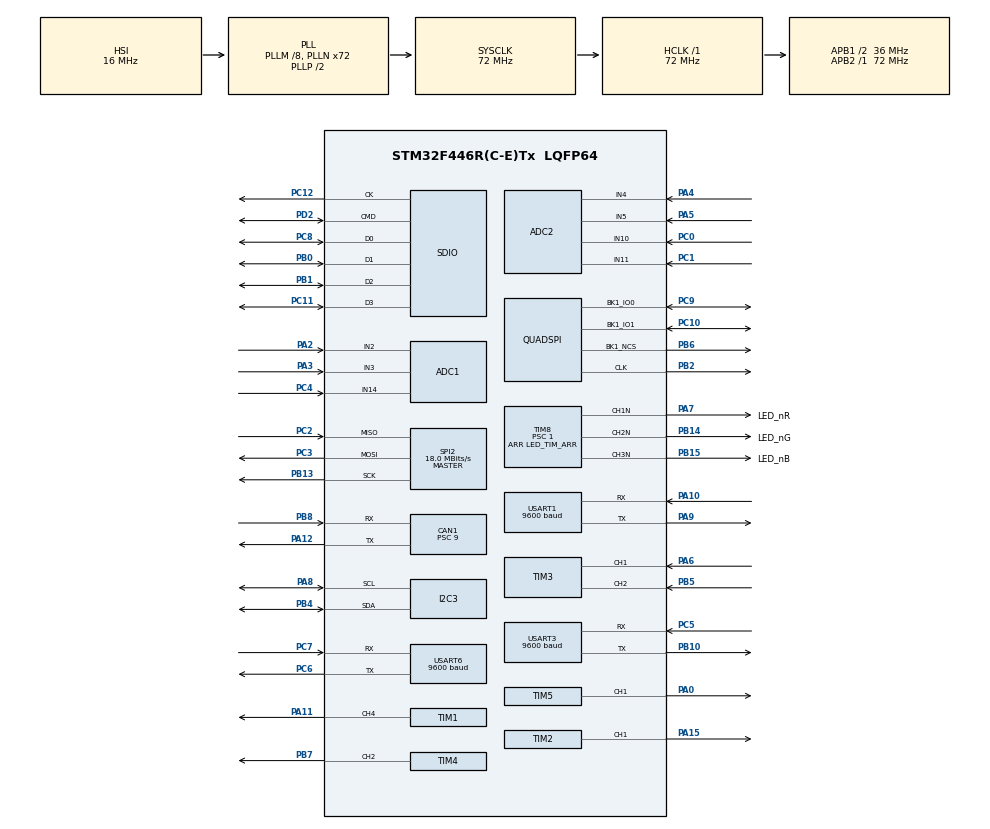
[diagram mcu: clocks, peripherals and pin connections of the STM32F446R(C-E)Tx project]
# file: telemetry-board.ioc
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ADC1.Channel-95\#ChannelRegularConversion=ADC_CHANNEL_2
ADC1.NbrOfConversionFlag=1
ADC1.Rank-95\#ChannelRegularConversion=1
ADC1.SamplingTime-95\#ChannelRegularConversion=ADC_SAMPLETIME_3CYCLES
ADC1.master=1
ADC2.Channel-88\#ChannelRegularConversion=ADC_CHANNEL_4
ADC2.NbrOfConversionFlag=1
ADC2.Rank-88\#ChannelRegularConversion=1
ADC2.SamplingTime-88\#ChannelRegularConversion=ADC_SAMPLETIME_3CYCLES
CAN1.BS1=CAN_BS1_13TQ
CAN1.BS2=CAN_BS2_2TQ
CAN1.CalculateTimeQuantum=250.0
CAN1.Prescaler=9
Dma.I2C3_RX.2.Direction=DMA_PERIPH_TO_MEMORY
Dma.I2C3_RX.2.FIFOMode=DMA_FIFOMODE_DISABLE
Dma.I2C3_RX.2.Instance=DMA1_Stream2
Dma.I2C3_RX.2.MemDataAlignment=DMA_MDATAALIGN_BYTE
Dma.I2C3_RX.2.MemInc=DMA_MINC_ENABLE
Dma.I2C3_RX.2.Mode=DMA_NORMAL
Dma.I2C3_RX.2.PeriphDataAlignment=DMA_PDATAALIGN_BYTE
Dma.I2C3_RX.2.PeriphInc=DMA_PINC_DISABLE
Dma.I2C3_RX.2.Priority=DMA_PRIORITY_LOW
Dma.Request0=SDIO_RX
Dma.Request1=SDIO_TX
Dma.Request2=I2C3_RX
Dma.Request3=USART3_RX
Dma.Request4=USART3_TX
Dma.Request5=USART1_TX
Dma.SDIO_RX.0.Direction=DMA_PERIPH_TO_MEMORY
Dma.SDIO_RX.0.FIFOMode=DMA_FIFOMODE_ENABLE
Dma.SDIO_RX.0.FIFOThreshold=DMA_FIFO_THRESHOLD_FULL
Dma.SDIO_RX.0.Instance=DMA2_Stream6
Dma.SDIO_RX.0.MemBurst=DMA_MBURST_INC4
Dma.SDIO_RX.0.MemDataAlignment=DMA_MDATAALIGN_WORD
Dma.SDIO_RX.0.MemInc=DMA_MINC_ENABLE
Dma.SDIO_RX.0.Mode=DMA_PFCTRL
Dma.SDIO_RX.0.PeriphBurst=DMA_PBURST_INC4
Dma.SDIO_RX.0.PeriphDataAlignment=DMA_PDATAALIGN_WORD
Dma.SDIO_RX.0.PeriphInc=DMA_PINC_DISABLE
Dma.SDIO_RX.0.Priority=DMA_PRIORITY_LOW
Dma.SDIO_TX.1.Direction=DMA_MEMORY_TO_PERIPH
Dma.SDIO_TX.1.FIFOMode=DMA_FIFOMODE_ENABLE
Dma.SDIO_TX.1.FIFOThreshold=DMA_FIFO_THRESHOLD_FULL
Dma.SDIO_TX.1.Instance=DMA2_Stream3
Dma.SDIO_TX.1.MemBurst=DMA_MBURST_INC4
Dma.SDIO_TX.1.MemDataAlignment=DMA_MDATAALIGN_WORD
Dma.SDIO_TX.1.MemInc=DMA_MINC_ENABLE
Dma.SDIO_TX.1.Mode=DMA_PFCTRL
Dma.SDIO_TX.1.PeriphBurst=DMA_PBURST_INC4
Dma.SDIO_TX.1.PeriphDataAlignment=DMA_PDATAALIGN_WORD
Dma.SDIO_TX.1.PeriphInc=DMA_PINC_DISABLE
Dma.SDIO_TX.1.Priority=DMA_PRIORITY_LOW
Dma.USART1_TX.5.Direction=DMA_MEMORY_TO_PERIPH
Dma.USART1_TX.5.FIFOMode=DMA_FIFOMODE_DISABLE
Dma.USART1_TX.5.Instance=DMA2_Stream7
Dma.USART1_TX.5.MemDataAlignment=DMA_MDATAALIGN_BYTE
Dma.USART1_TX.5.MemInc=DMA_MINC_ENABLE
Dma.USART1_TX.5.Mode=DMA_NORMAL
Dma.USART1_TX.5.PeriphDataAlignment=DMA_PDATAALIGN_BYTE
Dma.USART1_TX.5.PeriphInc=DMA_PINC_DISABLE
Dma.USART1_TX.5.Priority=DMA_PRIORITY_LOW
Dma.USART3_RX.3.Direction=DMA_PERIPH_TO_MEMORY
Dma.USART3_RX.3.FIFOMode=DMA_FIFOMODE_DISABLE
Dma.USART3_RX.3.Instance=DMA1_Stream1
Dma.USART3_RX.3.MemDataAlignment=DMA_MDATAALIGN_BYTE
Dma.USART3_RX.3.MemInc=DMA_MINC_ENABLE
Dma.USART3_RX.3.Mode=DMA_NORMAL
Dma.USART3_RX.3.PeriphDataAlignment=DMA_PDATAALIGN_BYTE
Dma.USART3_RX.3.PeriphInc=DMA_PINC_DISABLE
Dma.USART3_RX.3.Priority=DMA_PRIORITY_LOW
Dma.USART3_TX.4.Direction=DMA_MEMORY_TO_PERIPH
Dma.USART3_TX.4.FIFOMode=DMA_FIFOMODE_DISABLE
Dma.USART3_TX.4.Instance=DMA1_Stream4
Dma.USART3_TX.4.MemDataAlignment=DMA_MDATAALIGN_BYTE
Dma.USART3_TX.4.MemInc=DMA_MINC_ENABLE
Dma.USART3_TX.4.Mode=DMA_NORMAL
Dma.USART3_TX.4.PeriphDataAlignment=DMA_PDATAALIGN_BYTE
Dma.USART3_TX.4.PeriphInc=DMA_PINC_DISABLE
Dma.USART3_TX.4.Priority=DMA_PRIORITY_LOW
FATFS._FS_LOCK=2
FATFS._USE_STRFUNC=0
FREERTOS.Queues01=sdLoggingQueue,16,String_Message,0,Dynamic,NULL,NULL
FREERTOS.Tasks01=defaultTask,0,256,StartDefaultTask,Default,NULL,Dynamic,NULL,NULL;task_s1,0,256,TK_task_s1,Default,NULL,Dynamic,NULL,NULL;task_s2,0,256,TK_task_s2,Default,NULL,Dynamic,NULL,NULL;telemetry_mgmt,0,1024,TK_telemetry_data,As external,NULL,Dynamic,NULL,NULL;sdWrite,-1,1024,TK_sd_sync,As external,NULL,Dynamic,NULL,NULL;SD_data,-1,1024,TK_sd_data,As external,NULL,Dynamic,NULL,NULL
FREERTOS.configMINIMAL_STACK_SIZE=256
FREERTOS.configTOTAL_HEAP_SIZE=64400
Mcu.Family=STM32F4
Mcu.Name=STM32F446R(C-E)Tx
Mcu.Package=LQFP64
Mcu.UserConstants=LED_TIM_ARR,1000
NVIC.DMA1_Stream1_IRQn=true\:5\:0\:false\:false\:true\:true\:false
NVIC.DMA1_Stream2_IRQn=true\:5\:0\:false\:false\:true\:true\:false
NVIC.DMA1_Stream4_IRQn=true\:5\:0\:false\:false\:true\:true\:false
NVIC.DMA2_Stream3_IRQn=true\:5\:0\:false\:false\:true\:true\:false
NVIC.DMA2_Stream6_IRQn=true\:5\:0\:false\:false\:true\:true\:false
NVIC.DMA2_Stream7_IRQn=true\:5\:0\:false\:false\:true\:true\:false
NVIC.PriorityGroup=NVIC_PRIORITYGROUP_4
NVIC.SDIO_IRQn=true\:5\:0\:false\:false\:true\:true\:true
NVIC.TIM8_TRG_COM_TIM14_IRQn=true\:0\:0\:false\:false\:true\:false\:false
NVIC.TimeBase=TIM8_TRG_COM_TIM14_IRQn
NVIC.TimeBaseIP=TIM14
NVIC.USART1_IRQn=true\:5\:0\:false\:false\:true\:true\:true
PA0-WKUP.Signal=S_TIM5_CH1
PA10.Mode=Asynchronous
PA10.Signal=USART1_RX
PA11.Signal=S_TIM1_CH4
PA12.Mode=Master
PA12.Signal=CAN1_TX
PA13.Mode=Trace_Asynchronous_SW
PA13.Signal=SYS_JTMS-SWDIO
PA14.Mode=Trace_Asynchronous_SW
PA14.Signal=SYS_JTCK-SWCLK
PA15.Signal=S_TIM2_CH1_ETR
PA2.Signal=ADCx_IN2
PA3.Signal=ADCx_IN3
PA4.Signal=ADCx_IN4
PA5.Signal=ADCx_IN5
PA6.Signal=S_TIM3_CH1
PA7.GPIO_Label=LED_nR
PA7.Mode=PWM Generation1 CH1N
PA7.Signal=TIM8_CH1N
PA8.Mode=I2C
PA8.Signal=I2C3_SCL
PA9.Mode=Asynchronous
PA9.Signal=USART1_TX
PB0.Mode=SD_4_bits_Wide_bus
PB0.Signal=SDIO_D1
PB1.Mode=SD_4_bits_Wide_bus
PB1.Signal=SDIO_D2
PB10.Mode=Asynchronous
PB10.Signal=USART3_TX
PB13.Mode=Full_Duplex_Master
PB13.Signal=SPI2_SCK
PB14.GPIO_Label=LED_nG
PB14.Mode=PWM Generation2 CH2N
PB14.Signal=TIM8_CH2N
PB15.GPIO_Label=LED_nB
PB15.Mode=PWM Generation3 CH3N
PB15.Signal=TIM8_CH3N
PB2.Mode=Single Bank 1 2IOs
PB2.Signal=QUADSPI_CLK
PB3.Mode=Trace_Asynchronous_SW
PB3.Signal=SYS_JTDO-SWO
PB4.Mode=I2C
PB4.Signal=I2C3_SDA
PB5.Signal=S_TIM3_CH2
PB6.Mode=Single Bank 1 2IOs
PB6.Signal=QUADSPI_BK1_NCS
PB7.Signal=S_TIM4_CH2
PB8.Mode=Master
PB8.Signal=CAN1_RX
PC0.Signal=ADCx_IN10
PC1.Signal=ADCx_IN11
PC10.Mode=Single Bank 1 2IOs
PC10.Signal=QUADSPI_BK1_IO1
PC11.Mode=SD_4_bits_Wide_bus
PC11.Signal=SDIO_D3
PC12.Mode=SD_4_bits_Wide_bus
PC12.Signal=SDIO_CK
PC14-OSC32_IN.Mode=LSE-External-Oscillator
PC14-OSC32_IN.Signal=RCC_OSC32_IN
PC15-OSC32_OUT.Mode=LSE-External-Oscillator
PC15-OSC32_OUT.Signal=RCC_OSC32_OUT
PC2.Mode=Full_Duplex_Master
PC2.Signal=SPI2_MISO
PC3.Mode=Full_Duplex_Master
PC3.Signal=SPI2_MOSI
PC4.Signal=ADCx_IN14
PC5.Mode=Asynchronous
PC5.Signal=USART3_RX
PC6.Mode=Asynchronous
PC6.Signal=USART6_TX
PC7.Mode=Asynchronous
PC7.Signal=USART6_RX
PC8.Mode=SD_4_bits_Wide_bus
PC8.Signal=SDIO_D0
PC9.Mode=Single Bank 1 2IOs
PC9.Signal=QUADSPI_BK1_IO0
PD2.Mode=SD_4_bits_Wide_bus
PD2.Signal=SDIO_CMD
PH0-OSC_IN.Mode=HSE-External-Oscillator
PH0-OSC_IN.Signal=RCC_OSC_IN
PH1-OSC_OUT.Mode=HSE-External-Oscillator
PH1-OSC_OUT.Signal=RCC_OSC_OUT
ProjectManager.HeapSize=0x200
ProjectManager.StackSize=0x400
ProjectManager.TargetToolchain=TrueSTUDIO
RCC.AHBFreq_Value=72000000
RCC.APB1CLKDivider=RCC_HCLK_DIV2
RCC.APB1Freq_Value=36000000
RCC.APB1TimFreq_Value=72000000
RCC.APB2Freq_Value=72000000
RCC.APB2TimFreq_Value=72000000
RCC.CortexFreq_Value=72000000
RCC.HCLKFreq_Value=72000000
RCC.HSE_VALUE=8000000
RCC.PLLM=8
RCC.PLLN=72
RCC.PLLQ=3
RCC.SYSCLKFreq_VALUE=72000000
RCC.SYSCLKSource=RCC_SYSCLKSOURCE_PLLCLK
RCC.USBFreq_Value=48000000
RCC.VCOOutputFreq_Value=144000000
SH.ADCx_IN10.0=ADC2_IN10,IN10
SH.ADCx_IN11.0=ADC2_IN11,IN11
SH.ADCx_IN14.0=ADC1_IN14,IN14
SH.ADCx_IN2.0=ADC1_IN2,IN2
SH.ADCx_IN3.0=ADC1_IN3,IN3
SH.ADCx_IN4.0=ADC2_IN4,IN4
SH.ADCx_IN5.0=ADC2_IN5,IN5
SH.S_TIM1_CH4.0=TIM1_CH4,Output Compare4 CH4
SH.S_TIM2_CH1_ETR.0=TIM2_CH1,Output Compare1 CH1
SH.S_TIM3_CH1.0=TIM3_CH1,TriggerSource_TI1FP1
SH.S_TIM3_CH2.0=TIM3_CH2,Input_Capture2_from_TI2
SH.S_TIM4_CH2.0=TIM4_CH2,Output Compare2 CH2
SH.S_TIM5_CH1.0=TIM5_CH1,Output Compare1 CH1
SPI2.BaudRatePrescaler=SPI_BAUDRATEPRESCALER_2
SPI2.CalculateBaudRate=18.0 MBits/s
SPI2.Direction=SPI_DIRECTION_2LINES
SPI2.Mode=SPI_MODE_MASTER
SPI2.VirtualType=VM_MASTER
TIM1.Channel-Output\ Compare4\ CH4=TIM_CHANNEL_4
TIM2.Channel-Output\ Compare1\ CH1=TIM_CHANNEL_1
TIM3.Channel-Input_Capture2_from_TI2=TIM_CHANNEL_2
TIM4.Channel-Output\ Compare2\ CH2=TIM_CHANNEL_2
TIM5.Channel-Output\ Compare1\ CH1=TIM_CHANNEL_1
TIM8.Channel-PWM\ Generation1\ CH1N=TIM_CHANNEL_1
TIM8.Channel-PWM\ Generation2\ CH2N=TIM_CHANNEL_2
TIM8.Channel-PWM\ Generation3\ CH3N=TIM_CHANNEL_3
TIM8.OCMode_PWM-PWM\ Generation1\ CH1N=TIM_OCMODE_PWM2
TIM8.OCMode_PWM-PWM\ Generation2\ CH2N=TIM_OCMODE_PWM2
TIM8.OCMode_PWM-PWM\ Generation3\ CH3N=TIM_OCMODE_PWM2
TIM8.Period=LED_TIM_ARR
TIM8.Prescaler=1
USART1.BaudRate=9600
USART1.VirtualMode=VM_ASYNC
USART3.BaudRate=9600
USART3.VirtualMode=VM_ASYNC
USART6.BaudRate=9600
USART6.VirtualMode=VM_ASYNC
VP_FATFS_VS_SDIO.Mode=SDIO
VP_FREERTOS_VS_ENABLE.Mode=Enabled
VP_SYS_VS_tim14.Mode=TIM14
VP_TIM1_VS_ClockSourceINT.Mode=Internal
VP_TIM2_VS_ClockSourceINT.Mode=Internal
VP_TIM3_VS_ControllerModeClock.Mode=Clock Mode
VP_TIM4_VS_ClockSourceINT.Mode=Internal
VP_TIM5_VS_ClockSourceINT.Mode=Internal
VP_TIM8_VS_ClockSourceINT.Mode=Internal
board=custom

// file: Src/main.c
/* USER CODE BEGIN Header */
/**
  ******************************************************************************
  * @file           : main.c
  * @brief          : Main program body
  ******************************************************************************
  * This notice applies to any and all portions of this file
  * that are not between comment pairs USER CODE BEGIN and
  * USER CODE END. Other portions of this file, whether
  * inserted by the user or by software development tools
  * are owned by their respective copyright owners.
  *
  * Copyright (c) 2019 STMicroelectronics International N.V.
  * All rights reserved.
  *
  * Redistribution and use in source and binary forms, with or without
  * modification, are permitted, provided that the following conditions are met:
  *
  * 1. Redistribution of source code must retain the above copyright notice,
  *    this list of conditions and the following disclaimer.
  * 2. Redistributions in binary form must reproduce the above copyright notice,
  *    this list of conditions and the following disclaimer in the documentation
  *    and/or other materials provided with the distribution.
  * 3. Neither the name of STMicroelectronics nor the names of other
  *    contributors to this software may be used to endorse or promote products
  *    derived from this software without specific written permission.
  * 4. This software, including modifications and/or derivative works of this
  *    software, must execute solely and exclusively on microcontroller or
  *    microprocessor devices manufactured by or for STMicroelectronics.
  * 5. Redistribution and use of this software other than as permitted under
  *    this license is void and will automatically terminate your rights under
  *    this license.
  *
  * THIS SOFTWARE IS PROVIDED BY STMICROELECTRONICS AND CONTRIBUTORS "AS IS"
  * AND ANY EXPRESS, IMPLIED OR STATUTORY WARRANTIES, INCLUDING, BUT NOT
  * LIMITED TO, THE IMPLIED WARRANTIES OF MERCHANTABILITY, FITNESS FOR A
  * PARTICULAR PURPOSE AND NON-INFRINGEMENT OF THIRD PARTY INTELLECTUAL PROPERTY
  * RIGHTS ARE DISCLAIMED TO THE FULLEST EXTENT PERMITTED BY LAW. IN NO EVENT
  * SHALL STMICROELECTRONICS OR CONTRIBUTORS BE LIABLE FOR ANY DIRECT, INDIRECT,
  * INCIDENTAL, SPECIAL, EXEMPLARY, OR CONSEQUENTIAL DAMAGES (INCLUDING, BUT NOT
  * LIMITED TO, PROCUREMENT OF SUBSTITUTE GOODS OR SERVICES; LOSS OF USE, DATA,
  * OR PROFITS; OR BUSINESS INTERRUPTION) HOWEVER CAUSED AND ON ANY THEORY OF
  * LIABILITY, WHETHER IN CONTRACT, STRICT LIABILITY, OR TORT (INCLUDING
  * NEGLIGENCE OR OTHERWISE) ARISING IN ANY WAY OUT OF THE USE OF THIS SOFTWARE,
  * EVEN IF ADVISED OF THE POSSIBILITY OF SUCH DAMAGE.
  *
  ******************************************************************************
  */
/* USER CODE END Header */

#include "main.h"
#include "cmsis_os.h"
#include "adc.h"
#include "can.h"
#include "dma.h"
#include "fatfs.h"
#include "i2c.h"
#include "quadspi.h"
#include "sdio.h"
#include "spi.h"
#include "tim.h"
#include "usart.h"
#include "gpio.h"

/* USER CODE BEGIN Includes */
#include "led.h"
#include "CAN_communication.h"
/* USER CODE END Includes */

void SystemClock_Config(void);
void MX_FREERTOS_Init(void);

/* USER CODE BEGIN 0 */
UART_HandleTypeDef* xBee_huart;
/* USER CODE END 0 */

int main(void)
{

  /* MCU Configuration--------------------------------------------------------*/

  /* Reset of all peripherals, Initializes the Flash interface and the Systick. */
  HAL_Init();

  /* Configure the system clock */
  SystemClock_Config();

  /* Initialize all configured peripherals */
  MX_GPIO_Init();
  MX_DMA_Init();
  MX_ADC1_Init();
  MX_ADC2_Init();
  MX_CAN1_Init();
  MX_I2C3_Init();
  MX_QUADSPI_Init();
  MX_SDIO_SD_Init();
  MX_SPI2_Init();
  MX_TIM1_Init();
  MX_TIM2_Init();
  MX_TIM3_Init();
  MX_TIM4_Init();
  MX_TIM5_Init();
  MX_TIM8_Init();
  MX_USART1_UART_Init();
  MX_USART3_UART_Init();
  MX_USART6_UART_Init();
  /* USER CODE BEGIN 2 */
  led_init();

  xBee_huart = &huart1;

  CAN_Config(CAN_ID_TELEMETRY_BOARD);
  /* USER CODE END 2 */

  /* Call init function for freertos objects (in freertos.c) */
  MX_FREERTOS_Init();

  /* Start scheduler */
  osKernelStart();

  /* We should never get here as control is now taken by the scheduler */

  /* Infinite loop */
  while (1)
  {

  }
}

void SystemClock_Config(void)
{
  RCC_OscInitTypeDef RCC_OscInitStruct = {0};
  RCC_ClkInitTypeDef RCC_ClkInitStruct = {0};
  RCC_PeriphCLKInitTypeDef PeriphClkInitStruct = {0};

  /**Configure the main internal regulator output voltage
  */
  __HAL_RCC_PWR_CLK_ENABLE();
  __HAL_PWR_VOLTAGESCALING_CONFIG(PWR_REGULATOR_VOLTAGE_SCALE3);
  /**Initializes the CPU, AHB and APB busses clocks
  */
  RCC_OscInitStruct.OscillatorType = RCC_OSCILLATORTYPE_HSI;
  RCC_OscInitStruct.HSIState = RCC_HSI_ON;
  RCC_OscInitStruct.HSICalibrationValue = RCC_HSICALIBRATION_DEFAULT;
  RCC_OscInitStruct.PLL.PLLState = RCC_PLL_ON;
  RCC_OscInitStruct.PLL.PLLSource = RCC_PLLSOURCE_HSI;
  RCC_OscInitStruct.PLL.PLLM = 8;
  RCC_OscInitStruct.PLL.PLLN = 72;
  RCC_OscInitStruct.PLL.PLLP = RCC_PLLP_DIV2;
  RCC_OscInitStruct.PLL.PLLQ = 3;
  RCC_OscInitStruct.PLL.PLLR = 2;
  if (HAL_RCC_OscConfig(&RCC_OscInitStruct) != HAL_OK)
  {
    Error_Handler();
  }
  /**Initializes the CPU, AHB and APB busses clocks
  */
  RCC_ClkInitStruct.ClockType = RCC_CLOCKTYPE_HCLK|RCC_CLOCKTYPE_SYSCLK
                              |RCC_CLOCKTYPE_PCLK1|RCC_CLOCKTYPE_PCLK2;
  RCC_ClkInitStruct.SYSCLKSource = RCC_SYSCLKSOURCE_PLLCLK;
  RCC_ClkInitStruct.AHBCLKDivider = RCC_SYSCLK_DIV1;
  RCC_ClkInitStruct.APB1CLKDivider = RCC_HCLK_DIV2;
  RCC_ClkInitStruct.APB2CLKDivider = RCC_HCLK_DIV1;

  if (HAL_RCC_ClockConfig(&RCC_ClkInitStruct, FLASH_LATENCY_2) != HAL_OK)
  {
    Error_Handler();
  }
  PeriphClkInitStruct.PeriphClockSelection = RCC_PERIPHCLK_SDIO|RCC_PERIPHCLK_CLK48;
  PeriphClkInitStruct.Clk48ClockSelection = RCC_CLK48CLKSOURCE_PLLQ;
  PeriphClkInitStruct.SdioClockSelection = RCC_SDIOCLKSOURCE_CLK48;
  if (HAL_RCCEx_PeriphCLKConfig(&PeriphClkInitStruct) != HAL_OK)
  {
    Error_Handler();
  }
}

void HAL_TIM_PeriodElapsedCallback(TIM_HandleTypeDef *htim)
{
  if (htim->Instance == TIM14) {
    HAL_IncTick();
  }
}

void Error_Handler(void)
{
}

/************************ (C) COPYRIGHT STMicroelectronics *****END OF FILE****/

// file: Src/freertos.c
/* USER CODE BEGIN Header */
/**
  ******************************************************************************
  * File Name          : freertos.c
  * Description        : Code for freertos applications
  ******************************************************************************
  * This notice applies to any and all portions of this file
  * that are not between comment pairs USER CODE BEGIN and
  * USER CODE END. Other portions of this file, whether
  * inserted by the user or by software development tools
  * are owned by their respective copyright owners.
  *
  * Copyright (c) 2019 STMicroelectronics International N.V.
  * All rights reserved.
  *
  * Redistribution and use in source and binary forms, with or without
  * modification, are permitted, provided that the following conditions are met:
  *
  * 1. Redistribution of source code must retain the above copyright notice,
  *    this list of conditions and the following disclaimer.
  * 2. Redistributions in binary form must reproduce the above copyright notice,
  *    this list of conditions and the following disclaimer in the documentation
  *    and/or other materials provided with the distribution.
  * 3. Neither the name of STMicroelectronics nor the names of other
  *    contributors to this software may be used to endorse or promote products
  *    derived from this software without specific written permission.
  * 4. This software, including modifications and/or derivative works of this
  *    software, must execute solely and exclusively on microcontroller or
  *    microprocessor devices manufactured by or for STMicroelectronics.
  * 5. Redistribution and use of this software other than as permitted under
  *    this license is void and will automatically terminate your rights under
  *    this license.
  *
  * THIS SOFTWARE IS PROVIDED BY STMICROELECTRONICS AND CONTRIBUTORS "AS IS"
  * AND ANY EXPRESS, IMPLIED OR STATUTORY WARRANTIES, INCLUDING, BUT NOT
  * LIMITED TO, THE IMPLIED WARRANTIES OF MERCHANTABILITY, FITNESS FOR A
  * PARTICULAR PURPOSE AND NON-INFRINGEMENT OF THIRD PARTY INTELLECTUAL PROPERTY
  * RIGHTS ARE DISCLAIMED TO THE FULLEST EXTENT PERMITTED BY LAW. IN NO EVENT
  * SHALL STMICROELECTRONICS OR CONTRIBUTORS BE LIABLE FOR ANY DIRECT, INDIRECT,
  * INCIDENTAL, SPECIAL, EXEMPLARY, OR CONSEQUENTIAL DAMAGES (INCLUDING, BUT NOT
  * LIMITED TO, PROCUREMENT OF SUBSTITUTE GOODS OR SERVICES; LOSS OF USE, DATA,
  * OR PROFITS; OR BUSINESS INTERRUPTION) HOWEVER CAUSED AND ON ANY THEORY OF
  * LIABILITY, WHETHER IN CONTRACT, STRICT LIABILITY, OR TORT (INCLUDING
  * NEGLIGENCE OR OTHERWISE) ARISING IN ANY WAY OUT OF THE USE OF THIS SOFTWARE,
  * EVEN IF ADVISED OF THE POSSIBILITY OF SUCH DAMAGE.
  *
  ******************************************************************************
  */
/* USER CODE END Header */

#include "FreeRTOS.h"
#include "task.h"
#include "main.h"
#include "cmsis_os.h"

/* USER CODE BEGIN Includes */
#include "led.h"
#include "Telemetry/xbee.h"
#include "Misc/Common.h"
#include "Misc/data_handling.h"
/* USER CODE END Includes */

/* USER CODE BEGIN Variables */
osThreadId xBeeTelemetryHandle;
osThreadId centralizeDataHandle;

/* USER CODE END Variables */
osThreadId defaultTaskHandle;
osThreadId task_s1Handle;
osThreadId task_s2Handle;
osThreadId telemetry_mgmtHandle;
osThreadId sdWriteHandle;
osThreadId SD_dataHandle;
osMessageQId sdLoggingQueueHandle;

void StartDefaultTask(void const * argument);
void TK_task_s1(void const * argument);
void TK_task_s2(void const * argument);
extern void TK_telemetry_data(void const * argument);
extern void TK_sd_sync(void const * argument);
extern void TK_sd_data(void const * argument);

extern void MX_FATFS_Init(void);
void MX_FREERTOS_Init(void); /* (MISRA C 2004 rule 8.1) */

void MX_FREERTOS_Init(void) {
  /* USER CODE BEGIN Init */
  xbee_freertos_init();
  /* USER CODE END Init */

  /* Create the thread(s) */
  /* definition and creation of defaultTask */
  osThreadDef(defaultTask, StartDefaultTask, osPriorityNormal, 0, 256);
  defaultTaskHandle = osThreadCreate(osThread(defaultTask), NULL);

  /* definition and creation of task_s1 */
  osThreadDef(task_s1, TK_task_s1, osPriorityNormal, 0, 256);
  task_s1Handle = osThreadCreate(osThread(task_s1), NULL);

  /* definition and creation of task_s2 */
  osThreadDef(task_s2, TK_task_s2, osPriorityNormal, 0, 256);
  task_s2Handle = osThreadCreate(osThread(task_s2), NULL);

  /* definition and creation of telemetry_mgmt */
  osThreadDef(telemetry_mgmt, TK_telemetry_data, osPriorityNormal, 0, 1024);
  telemetry_mgmtHandle = osThreadCreate(osThread(telemetry_mgmt), NULL);

  /* definition and creation of sdWrite */
  osThreadDef(sdWrite, TK_sd_sync, osPriorityBelowNormal, 0, 1024);
  sdWriteHandle = osThreadCreate(osThread(sdWrite), NULL);

  /* definition and creation of SD_data */
  osThreadDef(SD_data, TK_sd_data, osPriorityBelowNormal, 0, 1024);
  SD_dataHandle = osThreadCreate(osThread(SD_data), NULL);

  /* USER CODE BEGIN RTOS_THREADS */
  /* add threads, ... */
  osThreadDef(xBeeTelemetry, TK_xBeeTelemetry, osPriorityNormal, 0, 128);
  xBeeTelemetryHandle = osThreadCreate(osThread(xBeeTelemetry), NULL);
  /* USER CODE END RTOS_THREADS */

  /* Create the queue(s) */
  /* definition and creation of sdLoggingQueue */
  osMessageQDef(sdLoggingQueue, 16, String_Message);
  sdLoggingQueueHandle = osMessageCreate(osMessageQ(sdLoggingQueue), NULL);

}

void StartDefaultTask(void const * argument)
{
  /* init code for FATFS */
  MX_FATFS_Init();

  /* USER CODE BEGIN StartDefaultTask */
  /* Infinite loop */
  for(;;)
  {
	led_set_b(50);
    osDelay(100);
	led_set_b( 0);
    osDelay(100);
  }
  /* USER CODE END StartDefaultTask */
}

void TK_task_s1(void const * argument)
{
  /* USER CODE BEGIN TK_task_s1 */
  /* Infinite loop */
  for(;;)
  {
    osDelay(1000);
  }
  /* USER CODE END TK_task_s1 */
}

void TK_task_s2(void const * argument)
{
  /* USER CODE BEGIN TK_task_s2 */
  /* Infinite loop */
  for(;;)
  {
    osDelay(1000);
  }
  /* USER CODE END TK_task_s2 */
}

/************************ (C) COPYRIGHT STMicroelectronics *****END OF FILE****/
